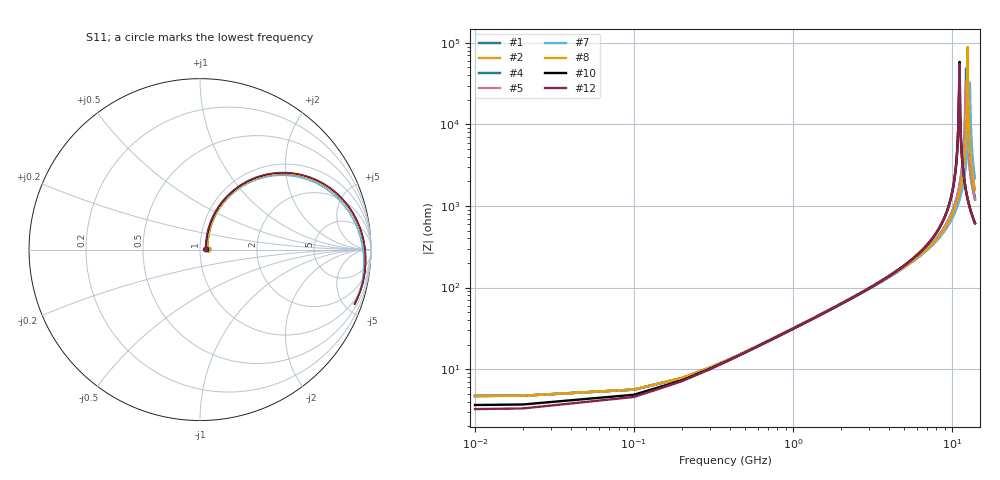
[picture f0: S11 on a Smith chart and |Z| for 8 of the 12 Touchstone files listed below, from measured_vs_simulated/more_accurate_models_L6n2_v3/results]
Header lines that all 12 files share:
#  GHZ S DB R 50.0
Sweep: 10 MHz to 14 GHz
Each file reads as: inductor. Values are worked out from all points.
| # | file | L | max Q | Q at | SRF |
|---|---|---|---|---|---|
| 1 | L6n2_with_ports_1um_passi3D.s2p | 4.93 nH | 48.2 | 9.7 GHz | 12.3 GHz |
| 2 | L6n2_with_ports_2um_mergecorrection_filled.s2p | 4.93 nH | 31.2 | 7.7 GHz | 11.1 GHz |
| 3 | L6n2_with_ports_2um_passi3D.s2p | 4.93 nH | 41.9 | 9.3 GHz | 12.2 GHz |
| 4 | L6n2_with_ports_2um_passi3D_margin100.s2p | 4.86 nH | 28.9 | 7.9 GHz | 12.2 GHz |
| 5 | L6n2_with_ports_2um_passi3D_margin200.s2p | 4.91 nH | 37 | 8.9 GHz | 12.2 GHz |
| 6 | L6n2_with_ports_2um_passi3D_margin800.s2p | 4.93 nH | 42.3 | 9.3 GHz | 12.2 GHz |
| 7 | L6n2_with_ports_2um_passi3D_testframe_ground.s2p | 4.9 nH | 594 | 9.4 GHz | 12.9 GHz |
| 8 | L6n2_with_ports_2um_passicut.s2p | 4.93 nH | 48.9 | 10 GHz | 12.6 GHz |
| 9 | L6n2_with_ports_5um_passi3D.s2p | 4.92 nH | 33 | 8.4 GHz | 12 GHz |
| 10 | L6n2_with_ports_surfacemesh_2um_mergecorrection.s2p | 4.92 nH | 969 | 9.6 GHz | 11.1 GHz |
| 11 | L6n2_with_ports_surfacemesh_2um_noviamerge.s2p | 4.92 nH | 1.04e+03 | 9.6 GHz | 11.1 GHz |
| 12 | L6n2_with_ports_surfacemesh_2um_viamerge.s2p | 4.92 nH | 1.06e+03 | 9.1 GHz | 11.1 GHz |
